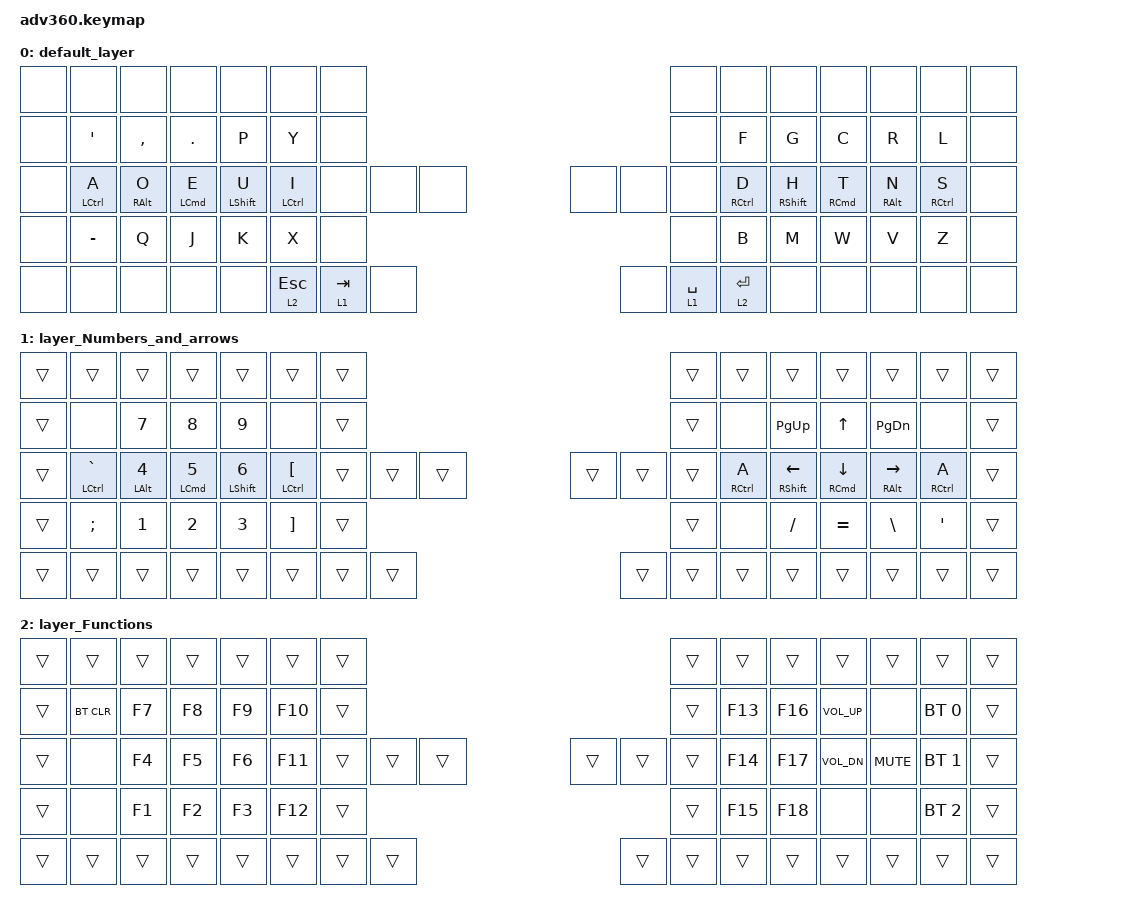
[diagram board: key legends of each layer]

/*
 * Copyright (c) 2020 The ZMK Contributors
 *
 * SPDX-License-Identifier: MIT
 */


/* THIS FILE WAS GENERATED!
 *
 * This file was generated automatically. You may or may not want to
 * edit it directly.
 */

#include <behaviors.dtsi>
#include <dt-bindings/zmk/keys.h>
#include <dt-bindings/zmk/bt.h>

/ {
  behaviors {
    #include "macros.dtsi"
    #include "version.dtsi"

    hm: homerow_mods {
        compatible = "zmk,behavior-hold-tap";
        label = "HOMEROW_MODS";
        #binding-cells = <2>;
        tapping-term-ms = <200>;
        quick_tap_ms = <175>;
        flavor = "tap-preferred";
        bindings = <&kp>, <&kp>;
    };
  };

    keymap {
        compatible = "zmk,keymap";


        default_layer {
            bindings = <
  &none               &none            &none               &none             &none               &none                   &none                                                                &none                &none              &none                &none            &none                &none   &none
  &none    &kp SINGLE_QUOTE        &kp COMMA          &kp PERIOD             &kp P               &kp Y                   &none                                                                &none                &kp F              &kp G                &kp C            &kp R                &kp L   &none
  &none  &hm LEFT_CONTROL A  &hm RIGHT_ALT O  &hm LEFT_COMMAND E  &hm LEFT_SHIFT U  &hm LEFT_CONTROL I                   &none      &none   &none                   &none        &none        &none  &hm RIGHT_CONTROL D  &hm RIGHT_SHIFT H  &hm RIGHT_COMMAND T  &hm RIGHT_ALT N  &hm RIGHT_CONTROL S   &none
  &none           &kp MINUS            &kp Q               &kp J             &kp K               &kp X                                      &none                   &none                                          &kp B              &kp M                &kp W            &kp V                &kp Z   &none
  &none               &none            &none               &none             &none                                &lt 2 ESCAPE  &lt 1 TAB   &none                   &none  &lt 1 SPACE  &lt 2 ENTER                                   &none                &none            &none                &none   &none
            >;
        };

        layer_Numbers_and_arrows {
            bindings = <
 &trans                  &trans                 &trans                     &trans                   &trans                         &trans            &trans                                                  &trans               &trans                      &trans                        &trans                     &trans               &trans  &trans
 &trans                   &none           &kp NUMBER_7               &kp NUMBER_8             &kp NUMBER_9                          &none            &trans                                                  &trans                &none                 &kp PAGE_UP                  &kp UP_ARROW              &kp PAGE_DOWN                &none  &trans
 &trans  &hm LEFT_CONTROL GRAVE  &hm LEFT_ALT NUMBER_4  &hm LEFT_COMMAND NUMBER_5  &hm LEFT_SHIFT NUMBER_6  &hm LEFT_CONTROL LEFT_BRACKET            &trans  &trans  &trans                  &trans  &trans  &trans  &hm RIGHT_CONTROL A  &hm RIGHT_SHIFT LEFT_ARROW  &hm RIGHT_COMMAND DOWN_ARROW  &hm RIGHT_ALT RIGHT_ARROW  &hm RIGHT_CONTROL A  &trans
 &trans           &kp SEMICOLON           &kp NUMBER_1               &kp NUMBER_2             &kp NUMBER_3              &kp RIGHT_BRACKET                            &trans                  &trans                                &none                   &kp SLASH                     &kp EQUAL              &kp BACKSLASH     &kp SINGLE_QUOTE  &trans
 &trans                  &trans                 &trans                     &trans                   &trans                                           &trans  &trans  &trans                  &trans  &trans  &trans                                           &trans                        &trans                     &trans               &trans  &trans
            >;
        };

        layer_Functions {
            bindings = <
 &trans      &trans  &trans  &trans  &trans   &trans            &trans                                                  &trans   &trans   &trans        &trans      &trans        &trans  &trans
 &trans  &bt BT_CLR  &kp F7  &kp F8  &kp F9  &kp F10            &trans                                                  &trans  &kp F13  &kp F16  &kp C_VOL_UP       &none  &bt BT_SEL 0  &trans
 &trans       &none  &kp F4  &kp F5  &kp F6  &kp F11            &trans  &trans  &trans                  &trans  &trans  &trans  &kp F14  &kp F17  &kp C_VOL_DN  &kp C_MUTE  &bt BT_SEL 1  &trans
 &trans       &none  &kp F1  &kp F2  &kp F3  &kp F12                            &trans                  &trans                  &kp F15  &kp F18         &none       &none  &bt BT_SEL 2  &trans
 &trans      &trans  &trans  &trans  &trans                     &trans  &trans  &trans                  &trans  &trans  &trans            &trans        &trans      &trans        &trans  &trans
            >;
        };

    };
};
